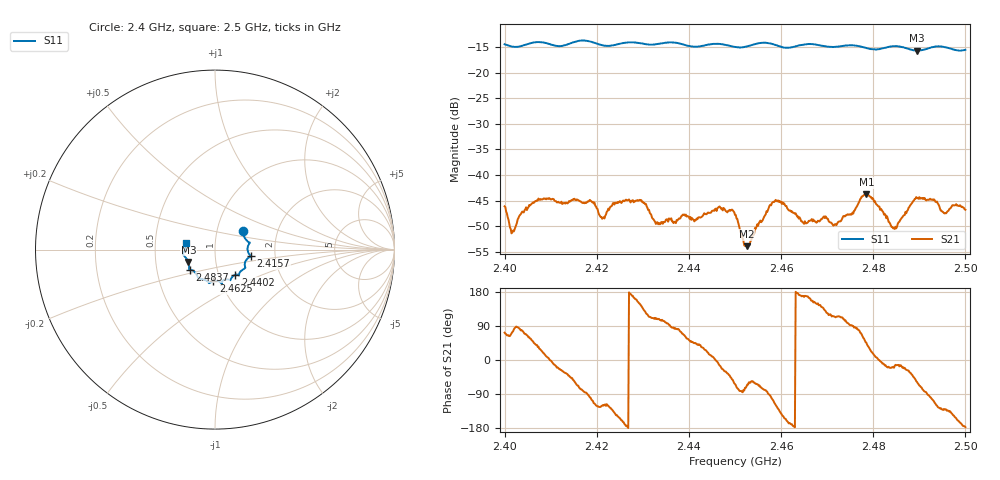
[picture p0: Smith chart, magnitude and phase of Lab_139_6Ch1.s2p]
# Hz S RI R 50
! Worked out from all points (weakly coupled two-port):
!   601 points, 2.4 GHz to 2.5 GHz, reference 50 ohm
!   highest |S21| = -43.77 dB at 2.4785 GHz (marker M1); lowest = -53.9 dB at 2.4525 GHz (marker M2)
!   lowest |S11| = -15.7 dB at 2.4895 GHz (marker M3), VSWR 1.39, Z = 36.8 - j5.16 ohm
!   |S11| at or under -10 dB: start of sweep to end of sweep
!   S12 and S22 are empty: the file has one direction only
!   S11 on the Smith chart (normalised r, x): 2.4 GHz: 1.33, +0.29; 2.4157 GHz: 1.49, -0.11; 2.4402 GHz: 1.20, -0.35; 2.4625 GHz: 0.92, -0.34; 2.4837 GHz: 0.74, -0.17; 2.5 GHz: 0.72, +0.05
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2.4e9  0.1566 0.1058  0.00151 0.00471  0 0  0 0
2.401833e9  0.1602 0.0784  0.000714 0.00277  0 0  0 0
2.407e9  0.1942 0.039  0.00435 0.00361  0 0  0 0
2.415667e9  0.1987 -0.0363  0.00237 -0.00526  0 0  0 0
2.416667e9  0.2016 -0.0398  0.00118 -0.00529  0 0  0 0
2.421333e9  0.175 -0.0567  -0.00184 -0.00334  0 0  0 0
2.424e9  0.1656 -0.085  -0.00422 -0.00331  0 0  0 0
2.429333e9  0.161 -0.1079  -0.00487 0.003  0 0  0 0
2.433333e9  0.1355 -0.1337  -0.00103 0.00313  0 0  0 0
2.440167e9  0.1142 -0.1403  0.00235 0.00289  0 0  0 0
2.45e9  0.0641 -0.1657  0.00182 -0.00365  0 0  0 0
2.4525e9  0.0429 -0.1742  0.000704 -0.00189  0 0  0 0
2.4585e9  0.0332 -0.1846  -0.00206 -0.00504  0 0  0 0
2.4625e9  -0.00989 -0.1769  -0.00426 -0.000549  0 0  0 0
2.466667e9  -0.0334 -0.1865  -0.0034 0.00149  0 0  0 0
2.471833e9  -0.0663 -0.1654  -0.00128 0.00305  0 0  0 0
2.4785e9  -0.1019 -0.1405  0.00454 0.00463  0 0  0 0
2.483333e9  -0.1382 -0.1121  0.00332 -0.00107  0 0  0 0
2.483667e9  -0.1401 -0.1117  0.00314 -0.00117  0 0  0 0
2.484833e9  -0.1441 -0.1094  0.00305 -0.000691  0 0  0 0
2.4895e9  -0.1483 -0.0683  0.00316 -0.00506  0 0  0 0
2.5e9  -0.1626 0.0363  -0.00457 -0.000224  0 0  0 0
